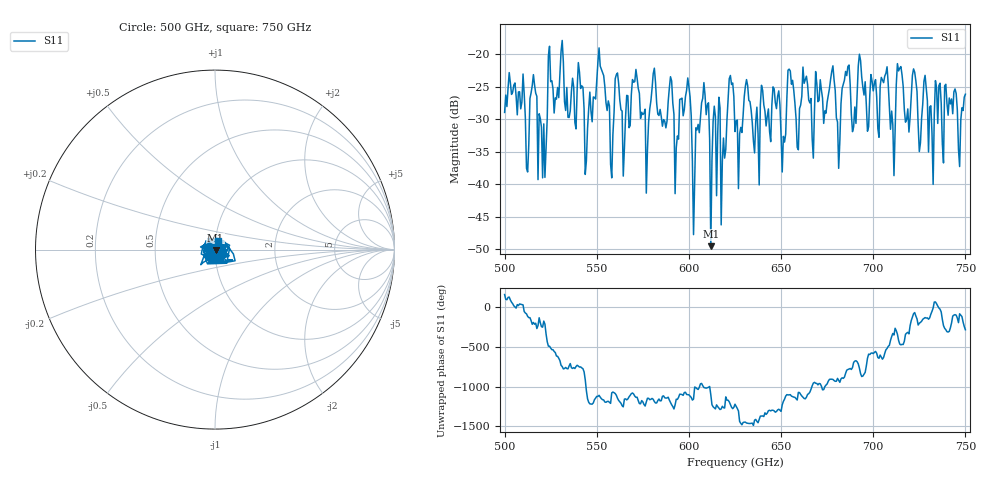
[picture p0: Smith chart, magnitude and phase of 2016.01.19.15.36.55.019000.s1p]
!Created with skrf (http://scikit-rf.org).
# GHz S RI R 50.0
!freq ReS11 ImS11
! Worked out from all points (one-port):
!   401 points, 500 GHz to 750 GHz, reference 50 ohm
!   lowest |S11| = -49.6 dB at 611.9 GHz (marker M1), VSWR 1.01, Z = 50.3 - j0.132 ohm
!   |S11| at or under -10 dB: start of sweep to end of sweep
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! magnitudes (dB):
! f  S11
! 500 GHz  -28.9
! 512.5 GHz  -38.1
! 516.2 GHz  -24.7
! 521.2 GHz  -30.7
! 525 GHz  -24.2
! 531.2 GHz  -17.9
! 544.4 GHz  -36.4
! 551.9 GHz  -21.8
! 558.1 GHz  -39.0
! 562.5 GHz  -27.1
! 576.9 GHz  -41.4
! 580.6 GHz  -23.0
! 590 GHz  -23.4
! 593.8 GHz  -32.6
! 599.4 GHz  -23.6
! 602.5 GHz  -47.8
! 608.1 GHz  -24.4
! 611.9 GHz  -49.6
! 625 GHz  -31.9
! 646.9 GHz  -27.4
! 651.2 GHz  -32.6
! 656.2 GHz  -24.0
! 687.5 GHz  -24.7
! 706.9 GHz  -22.9
! 710.6 GHz  -30.9
! 714.4 GHz  -22.1
! 718.8 GHz  -28.4
! 750 GHz  -26.1
